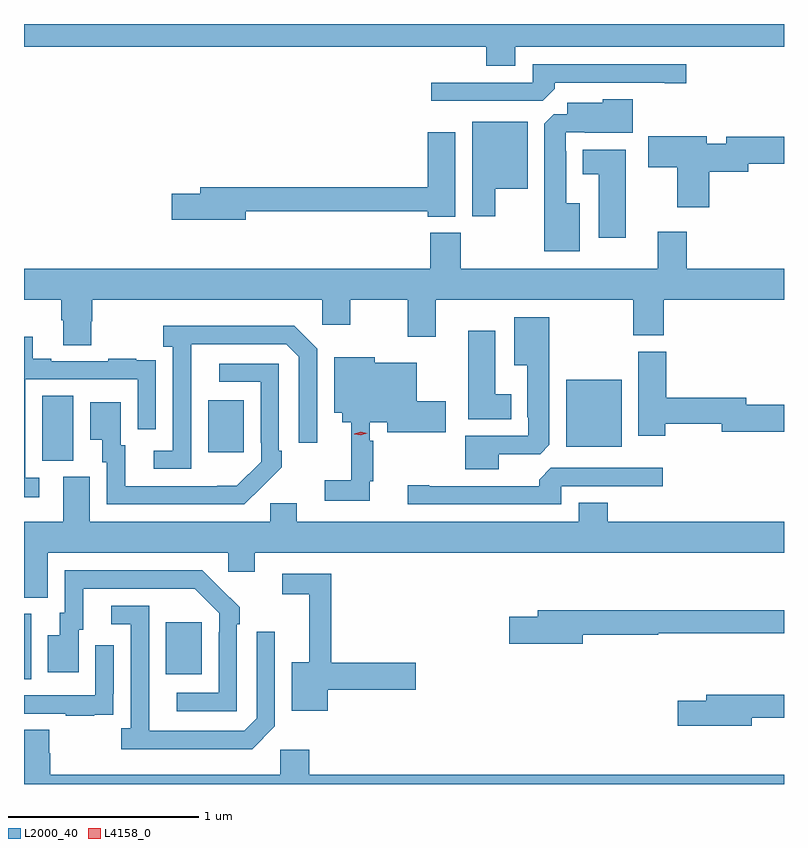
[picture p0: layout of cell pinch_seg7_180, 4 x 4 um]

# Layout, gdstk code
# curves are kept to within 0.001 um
import gdstk
lib = gdstk.Library(unit=1e-6, precision=1e-09)
def R(c, l, rs):  # rectangles x0, y0, x1, y1
    for r in rs: c.add(gdstk.rectangle(r[:2], r[2:], *l))
def P(c, l, *ps):  # polygons
    for p in ps: c.add(gdstk.Polygon(p, *l))
L2000_40 = (2000, 40)
L4158_0 = (4158, 0)

pinch_seg7_180 = lib.new_cell('pinch_seg7_180')
R(pinch_seg7_180, L2000_40, [(1092.518,1007.944,1092.556,1008.288), (1093.265,1007.969,1093.453,1008.244), (1092.614,1009.093,1092.778,1009.436), (1093.487,1009.137,1093.675,1009.411), (1095.371,1009.166,1095.664,1009.519)])
P(pinch_seg7_180, L2000_40, [(1095.103,1011.272),(1096.518,1011.272),(1096.518,1011.392),(1092.518,1011.392),(1092.518,1011.272),(1094.951,1011.272),(1094.951,1011.173),(1095.103,1011.173)],
  [(1095.311,1011.05),(1095.311,1011.084),(1095.89,1011.084),(1095.89,1011.079),(1096.003,1011.079),(1096.003,1011.18),(1095.195,1011.18),(1095.195,1011.084),(1094.661,1011.084),(1094.661,1010.988),(1095.249,1010.988)],
  [(1095.442,1010.449),(1095.373,1010.449),(1095.373,1010.723),(1095.369,1010.723),(1095.369,1010.823),(1095.469,1010.823),(1095.469,1010.819),(1095.721,1010.819),(1095.721,1010.995),(1095.564,1010.995),(1095.564,1010.977),(1095.377,1010.977),(1095.377,1010.916),(1095.306,1010.916),(1095.257,1010.867),(1095.257,1010.195),(1095.442,1010.195)],
  [(1094.998,1010.525),(1095.169,1010.525),(1095.169,1010.878),(1094.876,1010.878),(1094.876,1010.379),(1094.998,1010.379)],
  [(1093.684,1010.406),(1094.642,1010.406),(1094.642,1010.378),(1094.788,1010.378),(1094.788,1010.821),(1094.642,1010.821),(1094.642,1010.534),(1093.445,1010.534),(1093.445,1010.498),(1093.296,1010.498),(1093.296,1010.363),(1093.684,1010.363)],
  [(1096.124,1010.615),(1096.33,1010.615),(1096.33,1010.657),(1096.518,1010.657),(1096.518,1010.799),(1096.214,1010.799),(1096.214,1010.762),(1096.111,1010.762),(1096.111,1010.8),(1095.804,1010.8),(1095.804,1010.638),(1095.956,1010.638),(1095.956,1010.427),(1096.124,1010.427)],
  [(1095.685,1010.731),(1095.458,1010.731),(1095.458,1010.6),(1095.542,1010.6),(1095.542,1010.268),(1095.685,1010.268)],
  [(1092.873,1009.827),(1092.878,1009.827),(1092.878,1009.94),(1094.088,1009.94),(1094.088,1009.809),(1094.235,1009.809),(1094.235,1009.94),(1094.539,1009.94),(1094.539,1009.746),(1094.686,1009.746),(1094.686,1009.94),(1095.724,1009.94),(1095.724,1009.753),(1095.884,1009.753),(1095.884,1009.94),(1096.518,1009.94),(1096.518,1010.104),(1096.007,1010.104),(1096.007,1010.299),(1095.854,1010.299),(1095.854,1010.104),(1094.817,1010.104),(1094.817,1010.293),(1094.657,1010.293),(1094.657,1010.104),(1092.518,1010.104),(1092.518,1009.94),(1092.713,1009.94),(1092.713,1009.834),(1092.725,1009.834),(1092.725,1009.702),(1092.873,1009.702)],
  [(1095.016,1009.128),(1095.234,1009.128),(1095.283,1009.177),(1095.283,1009.849),(1095.098,1009.849),(1095.098,1009.595),(1095.167,1009.595),(1095.167,1009.321),(1095.171,1009.321),(1095.171,1009.224),(1094.84,1009.224),(1094.84,1009.049),(1095.016,1009.049)],
  [(1093.398,1009.507),(1093.399,1009.707),(1093.899,1009.707),(1093.965,1009.641),(1093.965,1009.188),(1094.061,1009.188),(1094.061,1009.683),(1093.94,1009.804),(1093.251,1009.804),(1093.251,1009.694),(1093.302,1009.694),(1093.302,1009.146),(1093.2,1009.146),(1093.2,1009.05),(1093.398,1009.05)],
  [(1095.082,1009.444),(1094.998,1009.444),(1094.998,1009.777),(1094.855,1009.777),(1094.855,1009.313),(1095.082,1009.313)],
  [(1092.598,1009.005),(1092.525,1009.005),(1092.525,1009.521),(1093.116,1009.521),(1093.116,1009.26),(1093.212,1009.26),(1093.212,1009.514),(1093.211,1009.514),(1093.211,1009.623),(1093.109,1009.623),(1093.109,1009.63),(1092.961,1009.63),(1092.961,1009.617),(1092.661,1009.617),(1092.661,1009.63),(1092.565,1009.63),(1092.565,1009.747),(1092.518,1009.747),(1092.518,1008.9),(1092.598,1008.9)],
  [(1095.894,1009.288),(1096.19,1009.288),(1096.19,1009.246),(1096.518,1009.246),(1096.518,1009.388),(1096.318,1009.388),(1096.318,1009.424),(1095.899,1009.424),(1095.899,1009.668),(1095.752,1009.668),(1095.752,1009.224),(1095.894,1009.224)],
  [(1094.339,1008.985),(1094.357,1008.985),(1094.357,1009.199),(1094.337,1009.199),(1094.337,1009.295),(1094.429,1009.295),(1094.429,1009.244),(1094.737,1009.244),(1094.737,1009.407),(1094.584,1009.407),(1094.584,1009.609),(1094.363,1009.609),(1094.363,1009.639),(1094.15,1009.639),(1094.15,1009.346),(1094.192,1009.346),(1094.192,1009.295),(1094.24,1009.295),(1094.24,1008.991),(1094.1,1008.991),(1094.1,1008.882),(1094.339,1008.882)],
  [(1093.769,1008.955),(1093.77,1008.954),(1093.875,1009.059),(1093.875,1009.147),(1093.86,1009.147),(1093.86,1009.605),(1093.545,1009.605),(1093.545,1009.509),(1093.764,1009.509),(1093.764,1009.189),(1093.767,1009.189),(1093.767,1009.089),(1093.639,1008.961),(1093.051,1008.96),(1093.051,1009.176),(1093.027,1009.176),(1093.027,1009.402),(1092.866,1009.402),(1092.866,1009.205),(1092.929,1009.205),(1092.929,1009.086),(1092.954,1009.086),(1092.954,1008.864),(1093.678,1008.864)],
  [(1095.345,1008.96),(1095.88,1008.96),(1095.88,1009.056),(1095.291,1009.056),(1095.23,1008.994),(1095.23,1008.96),(1094.65,1008.96),(1094.65,1008.965),(1094.538,1008.965),(1094.538,1008.864),(1095.345,1008.864)],
  [(1092.643,1008.608),(1093.593,1008.608),(1093.593,1008.51),(1093.732,1008.51),(1093.732,1008.608),(1096.518,1008.608),(1096.518,1008.772),(1095.59,1008.772),(1095.59,1008.871),(1095.437,1008.871),(1095.437,1008.772),(1093.954,1008.772),(1093.954,1008.87),(1093.815,1008.87),(1093.815,1008.772),(1092.865,1008.772),(1092.865,1009.008),(1092.725,1009.008),(1092.725,1008.772),(1092.518,1008.772),(1092.518,1008.373),(1092.643,1008.373)],
  [(1093.638,1008.233),(1093.653,1008.233),(1093.653,1008.321),(1093.456,1008.516),(1092.732,1008.516),(1092.732,1008.294),(1092.707,1008.294),(1092.707,1008.175),(1092.644,1008.175),(1092.644,1007.979),(1092.805,1007.979),(1092.805,1008.204),(1092.829,1008.204),(1092.829,1008.42),(1093.417,1008.42),(1093.545,1008.291),(1093.545,1008.191),(1093.542,1008.191),(1093.542,1007.871),(1093.323,1007.871),(1093.323,1007.775),(1093.638,1007.775)],
  [(1094.116,1007.887),(1094.581,1007.887),(1094.581,1008.029),(1094.135,1008.029),(1094.135,1008.498),(1093.878,1008.498),(1093.878,1008.39),(1094.018,1008.39),(1094.018,1008.034),(1093.928,1008.034),(1093.928,1007.777),(1094.116,1007.777)],
  [(1093.839,1007.697),(1093.839,1008.193),(1093.743,1008.193),(1093.743,1007.739),(1093.677,1007.673),(1093.177,1007.673),(1093.176,1008.33),(1092.978,1008.33),(1092.978,1008.234),(1093.08,1008.234),(1093.08,1007.686),(1093.029,1007.686),(1093.029,1007.576),(1093.718,1007.576)],
  [(1095.46,1008.178),(1095.856,1008.178),(1095.856,1008.186),(1096.518,1008.186),(1096.518,1008.307),(1095.221,1008.307),(1095.221,1008.273),(1095.072,1008.273),(1095.072,1008.131),(1095.46,1008.131)],
  [(1092.887,1007.757),(1092.989,1007.757),(1092.989,1007.866),(1092.99,1007.866),(1092.99,1008.121),(1092.894,1008.121),(1092.894,1007.859),(1092.518,1007.859),(1092.518,1007.763),(1092.739,1007.763),(1092.739,1007.751),(1092.887,1007.751)],
  [(1096.348,1007.742),(1096.518,1007.742),(1096.518,1007.863),(1096.109,1007.863),(1096.109,1007.829),(1095.96,1007.829),(1095.96,1007.699),(1096.348,1007.699)],
  [(1096.518,1007.44),(1094.018,1007.44),(1094.018,1007.572),(1093.866,1007.572),(1093.866,1007.44),(1092.656,1007.44),(1092.656,1007.553),(1092.651,1007.553),(1092.651,1007.678),(1092.518,1007.678),(1092.518,1007.392),(1096.518,1007.392)])
P(pinch_seg7_180, L4158_0, [(1094.291,1009.227),(1094.257,1009.234),(1094.257,1009.235),(1094.257,1009.235),(1094.29,1009.247),(1094.324,1009.239),(1094.324,1009.239),(1094.324,1009.238)])

lib.write_gds('pinch_seg7_180.gds')
